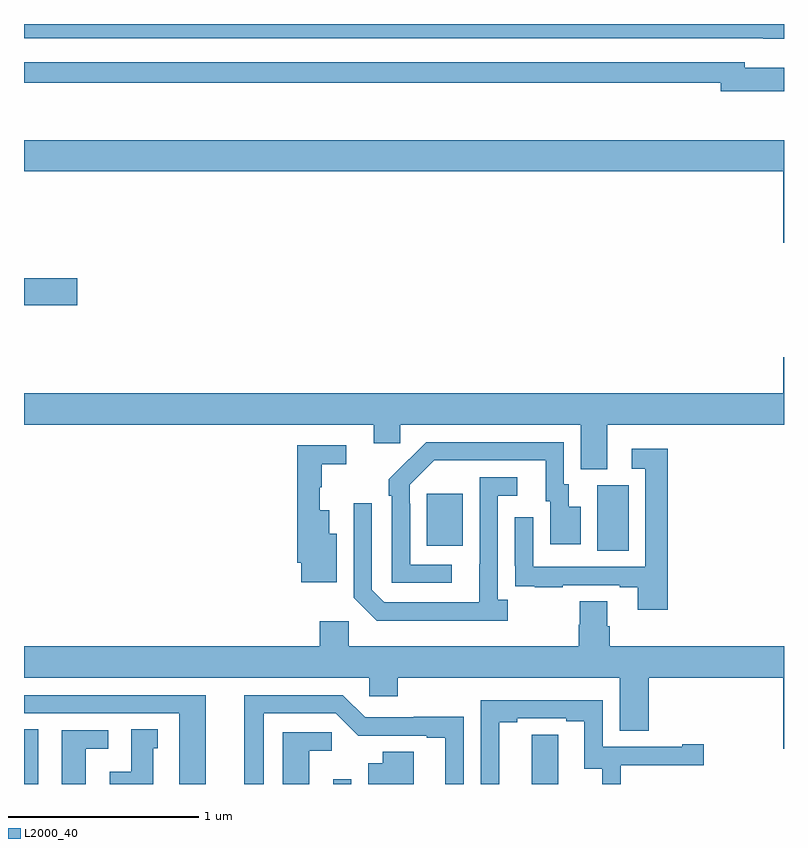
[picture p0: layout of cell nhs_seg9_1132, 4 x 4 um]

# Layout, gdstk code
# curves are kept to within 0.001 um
import gdstk
lib = gdstk.Library(unit=1e-6, precision=1e-09)
def R(c, l, rs):  # rectangles x0, y0, x1, y1
    for r in rs: c.add(gdstk.rectangle(r[:2], r[2:], *l))
def P(c, l, *ps):  # polygons
    for p in ps: c.add(gdstk.Polygon(p, *l))
L2000_40 = (2000, 40)

nhs_seg9_1132 = lib.new_cell('nhs_seg9_1132')
R(nhs_seg9_1132, L2000_40, [(173,1222.5,173.074,1222.787), (174.627,1222.5,174.723,1222.525), (176.018,1223.728,176.182,1224.072), (175.121,1223.753,175.309,1224.028), (173,1225.021,173.281,1225.163)])
P(nhs_seg9_1132, L2000_40, [(177,1226.5),(173,1226.5),(173,1226.424),(176.89,1226.424),(176.89,1226.423),(177,1226.423)],
  [(177,1226.269),(176.794,1226.269),(176.794,1226.298),(173,1226.298),(173,1226.19),(176.666,1226.19),(176.666,1226.147),(177,1226.147)],
  [(177,1225.888),(173,1225.888),(173,1225.724),(176.996,1225.724),(176.996,1225.35),(177,1225.35)],
  [(176.071,1224.392),(177,1224.392),(177,1224.745),(176.996,1224.745),(176.996,1224.556),(173,1224.556),(173,1224.392),(174.842,1224.392),(174.842,1224.294),(174.981,1224.294),(174.981,1224.392),(175.931,1224.392),(175.931,1224.157),(176.071,1224.157)],
  [(175.252,1223.655),(175.032,1223.655),(175.032,1223.975),(175.029,1223.975),(175.029,1224.075),(175.158,1224.204),(175.745,1224.204),(175.745,1223.988),(175.769,1223.988),(175.769,1223.763),(175.93,1223.763),(175.93,1223.959),(175.867,1223.959),(175.867,1224.078),(175.842,1224.078),(175.842,1224.3),(175.118,1224.3),(174.921,1224.105),(174.921,1224.017),(174.936,1224.017),(174.936,1223.559),(175.252,1223.559)],
  [(174.646,1223.818),(174.607,1223.818),(174.607,1223.941),(174.557,1223.941),(174.557,1224.063),(174.568,1224.063),(174.568,1224.184),(174.697,1224.184),(174.697,1224.282),(174.439,1224.282),(174.439,1223.665),(174.458,1223.665),(174.458,1223.561),(174.646,1223.561)],
  [(176.387,1224.265),(176.199,1224.265),(176.199,1224.159),(176.271,1224.159),(176.271,1223.643),(175.68,1223.643),(175.68,1223.905),(175.584,1223.905),(175.584,1223.65),(175.585,1223.65),(175.585,1223.541),(175.687,1223.541),(175.687,1223.535),(175.835,1223.535),(175.835,1223.547),(176.135,1223.547),(176.135,1223.535),(176.231,1223.535),(176.231,1223.418),(176.387,1223.418)],
  [(175.546,1223.47),(175.494,1223.47),(175.494,1224.018),(175.597,1224.018),(175.597,1224.114),(175.398,1224.114),(175.397,1223.457),(174.897,1223.457),(174.831,1223.523),(174.831,1223.977),(174.735,1223.977),(174.735,1223.481),(174.856,1223.36),(175.546,1223.36)],
  [(177,1223.224),(176.084,1223.224),(176.084,1223.33),(176.071,1223.33),(176.071,1223.462),(175.924,1223.462),(175.924,1223.337),(175.919,1223.337),(175.919,1223.224),(174.708,1223.224),(174.708,1223.356),(174.557,1223.356),(174.557,1223.224),(173,1223.224),(173,1223.06),(174.816,1223.06),(174.816,1222.962),(174.968,1222.962),(174.968,1223.06),(176.135,1223.06),(176.135,1222.78),(176.288,1222.78),(176.288,1223.06),(176.996,1223.06),(176.996,1222.686),(177,1222.686)],
  [(174.262,1222.872),(174.642,1222.872),(174.76,1222.754),(175.121,1222.755),(175.121,1222.743),(175.217,1222.743),(175.217,1222.5),(175.314,1222.5),(175.314,1222.853),(175.051,1222.853),(175.051,1222.851),(174.795,1222.851),(174.678,1222.968),(174.158,1222.968),(174.158,1222.5),(174.262,1222.5)],
  [(173.956,1222.968),(173,1222.968),(173,1222.872),(173.816,1222.872),(173.816,1222.5),(173.956,1222.5)],
  [(175.501,1222.825),(175.597,1222.825),(175.597,1222.845),(175.853,1222.845),(175.853,1222.83),(175.949,1222.83),(175.949,1222.579),(176.044,1222.579),(176.044,1222.5),(176.142,1222.5),(176.142,1222.598),(176.144,1222.598),(176.144,1222.599),(176.578,1222.599),(176.578,1222.708),(176.465,1222.708),(176.465,1222.695),(176.046,1222.695),(176.046,1222.941),(175.404,1222.941),(175.404,1222.5),(175.501,1222.5)],
  [(173.68,1222.689),(173.704,1222.689),(173.704,1222.787),(173.564,1222.787),(173.564,1222.564),(173.45,1222.564),(173.45,1222.5),(173.68,1222.5)],
  [(173.326,1222.686),(173.443,1222.686),(173.443,1222.782),(173.198,1222.782),(173.198,1222.5),(173.326,1222.5)],
  [(174.502,1222.676),(174.619,1222.676),(174.619,1222.773),(174.362,1222.773),(174.362,1222.5),(174.502,1222.5)],
  [(175.813,1222.652),(175.812,1222.652),(175.812,1222.76),(175.673,1222.76),(175.673,1222.5),(175.813,1222.5)],
  [(175.051,1222.67),(174.887,1222.67),(174.887,1222.609),(174.812,1222.609),(174.812,1222.5),(175.051,1222.5)])

lib.write_gds('nhs_seg9_1132.gds')
